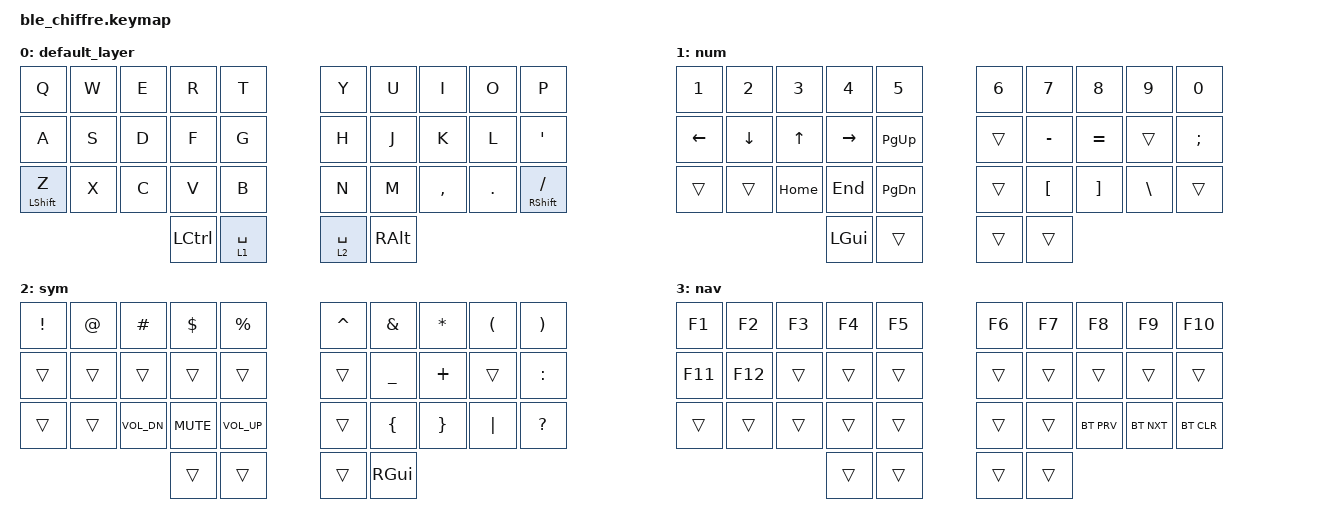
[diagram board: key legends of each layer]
/*
 * Copyright (c) 2020 The ZMK Contributors
 *
 * SPDX-License-Identifier: MIT
 */

#include <behaviors.dtsi>
#include <dt-bindings/zmk/bt.h>
#include <dt-bindings/zmk/keys.h>

#define DEFAULT 0
#define NUM 1
#define SYM 2
#define NAV 3

/ {
    behaviors {
        rst: boot_reset {
            compatible = "zmk,behavior-hold-tap";
            label = "Bootloader Tap - Reset Hold";
            #binding-cells = <2>;
            tapping_term_ms = <200>;
            flavor = "balanced";
            bindings = <&reset>, <&bootloader>;
        };

        bh: layer_taps {
            compatible = "zmk,behavior-hold-tap";
            label = "Layer-Tap";
            #binding-cells = <2>;
            tapping_term_ms = <200>;
            flavor = "tap-preferred";
            bindings = <&mo>, <&kp>;
        };
    };
};

/ {
    combos {
        compatible = "zmk,combos";

        combo_backspce {
            timeout-ms = <50>;
            key-positions = <8 9>;
            bindings = <&kp BSPC>;
        };

        combo_del {
            timeout-ms = <50>;
            key-positions = <7 9>;
            bindings = <&kp DEL>;
        };

        combo_esc {
            timeout-ms = <30>;
            key-positions = <0 2>;
            bindings = <&kp ESC>;
        };

        combo_tab {
            timeout-ms = <35>;
            key-positions = <0 1>;
            bindings = <&kp TAB>;
        };

        combo_enter {
            timeout-ms = <35>;
            key-positions = <18 19>;
            bindings = <&kp ENTER>;
        };
    };
};

/ {
    conditional_layers {
        compatible = "zmk,conditional-layers";

        tri_layer {
            if-layers = <1 2>;
            then-layer = <3>;
        };
    };
};

/ {
    keymap {
        compatible = "zmk,keymap";

        default_layer {
            //   |    Q    |    W    |    E    |    R    |    T    |    Y    |    U    |    I    |    O    |    P    |
            //   |    A    |    S    |    D    |    F    |    G    |    H    |    J    |    K    |    L    |    '    |
            //   | Shft/Z  |    X    |    C    |    V    |    B    |    N    |    M    |    ,    |    .    | Shft//  |
            //                                 |  Ctrl | Space+fn1 | Space+fn2 |  Alt  |   

            bindings = <
&kp Q        &kp W  &kp E  &kp R      &kp T          &kp Y        &kp U     &kp I      &kp O    &kp P
&kp A        &kp S  &kp D  &kp F      &kp G          &kp H        &kp J     &kp K      &kp L    &kp SQT
&mt LSHFT Z  &kp X  &kp C  &kp V      &kp B          &kp N        &kp M     &kp COMMA  &kp DOT  &mt RSHFT SLASH
                           &kp LCTRL  &bh 1 SPACE    &bh 2 SPACE  &kp RALT
            >;
        };

        num {
            //   |    1    |    2    |    3    |    4    |    5    |    6    |    7    |    8    |    9    |    0    |
            //   |  Left   |  Down   |   Up    |  Right  |  Pg_up  |    x    |    -    |    =    |    x    |    ;    |
            //   |    x    |    x    |  Home   |   End   |  Pg_dn  |    x    |    [    |    ]    |    \    |    x    |
            //                                 |   Win   |    x    |    x    |    x    |

            bindings = <
&kp N1    &kp N2    &kp N3    &kp N4     &kp N5       &kp N6  &kp N7     &kp N8     &kp N9    &kp N0
&kp LEFT  &kp DOWN  &kp UP    &kp RIGHT  &kp PG_UP    &trans  &kp MINUS  &kp EQUAL  &trans    &kp SEMI
&trans    &trans    &kp HOME  &kp END    &kp PG_DN    &trans  &kp LBKT   &kp RBKT   &kp BSLH  &trans
                              &kp LGUI   &trans       &trans  &trans
            >;
        };

        sym {
            //   |    !    |    @    |    #    |    $    |    %    |    ^    |    &    |    *    |    (    |    )    |
            //   |    x    |    x    |    x    |    x    |    x    |    x    |    _    |    +    |    x    |    :    |
            //   |    x    |    x    | Vol Dn  |  Mute   | Vol Up  |    x    |    {    |    }    |    |    |    x    |
            //                                 |    x    |    x    |    x    |   Win   |

            bindings = <
&kp EXCL  &kp AT  &kp HASH      &kp DLLR    &kp PRCNT       &kp CARET  &kp AMPS   &kp STAR  &kp LPAR  &kp RPAR
&trans    &trans  &trans        &trans      &trans          &trans     &kp UNDER  &kp PLUS  &trans    &kp COLON
&trans    &trans  &kp C_VOL_DN  &kp C_MUTE  &kp C_VOL_UP    &trans     &kp LBRC   &kp RBRC  &kp PIPE  &kp QMARK
                                &trans      &trans          &trans     &kp RGUI
            >;
        };

        nav {
            //   |   F1    |   F2    |   F3   |   F4   |   F5   |   F6   |   F7   |    F8   |    F9   |     F10    |
            //   |   F11   |   F12   |   x    |   x    |   x    |   x    |   x    |    x    |    x    |      x     |
            //   |    x    |    x    |   x    |   x    |   x    |   x    |   x    |  BT Dn  |  BT Up  |  BT Clear  |
            //                                |   x    |   x    |   x    |    x   |

            bindings = <
&kp F1   &kp F2   &kp F3  &kp F4  &kp F5    &kp F6  &kp F7  &kp F8      &kp F9      &kp F10
&kp F11  &kp F12  &trans  &trans  &trans    &trans  &trans  &trans      &trans      &trans
&trans   &trans   &trans  &trans  &trans    &trans  &trans  &bt BT_PRV  &bt BT_NXT  &bt BT_CLR
                          &trans  &trans    &trans  &trans
            >;
        };
    };
};
